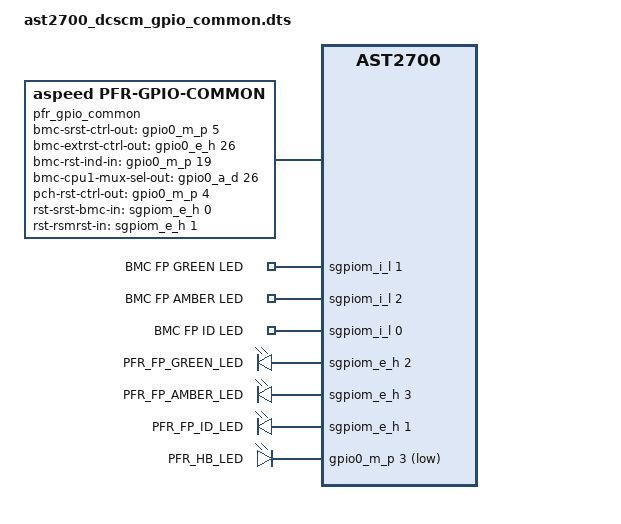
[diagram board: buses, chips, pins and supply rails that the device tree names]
#include <dt-bindings/gpio/gpio.h>

/ {
	pfr_gpio_common {
		compatible = "aspeed,pfr-gpio-common";
		bmc-srst-ctrl-out-gpios = <&gpio0_m_p 5 0>; /* GPIO_M5 */
		bmc-extrst-ctrl-out-gpios = <&gpio0_e_h 26 0>; /* GPIO_H2 */
		bmc-rst-ind-in-gpios = <&gpio0_m_p 19 0>; /* GPIO_O3 */
		bmc-cpu1-mux-sel-out-gpios = <&gpio0_a_d 26 0>; /* GPIO_D2 */
		pch-rst-ctrl-out-gpios = <&gpio0_m_p 4 0>; /* GPIO_M4 */

		/* NOTICE:
		 * Normally, these two pin should be GPIO_ACTIVE_LOW, but currently this EVB
		 * doesn't produce correct power sequence by itself.
		 */
		rst-srst-bmc-in-gpios = <&sgpiom_e_h 0 GPIO_ACTIVE_HIGH>; /* SGPI32 */
		rst-rsmrst-in-gpios = <&sgpiom_e_h 1 GPIO_ACTIVE_HIGH>; /* SGPI33 */
	};

	aliases {
		fp-input0 = &bmc_fp_green_led_in;
		fp-input1 = &bmc_fp_amber_led_in;
		fp-input2 = &bmc_fp_id_led_in;
	};

	gpio_keys {
		compatible = "gpio-keys";
		bmc_fp_green_led_in: fp_green_led_in {
			gpios = <&sgpiom_i_l 1 0>; /* SGPI65 */
			label = "BMC FP GREEN LED";
		};

		bmc_fp_amber_led_in: fp_amber_led_in {
			gpios = <&sgpiom_i_l 2 0>; /* SGPI66 */
			label = "BMC FP AMBER LED";
		};

		bmc_fp_id_led_in: fp_id_led_in {
			gpios = <&sgpiom_i_l 0 0>; /* SGPI64 */
			label = "BMC FP ID LED";
		};
	};

	leds {
		compatible = "gpio-leds";

		pfr_fp_green_led_out: green_led {
			gpios = <&sgpiom_e_h 2 0>; /* SGPO34 */
			label = "PFR_FP_GREEN_LED";
		};

		pfr_fp_amber_led_out: amber_led {
			gpios = <&sgpiom_e_h 3 0>; /* SGPO35 */
			label = "PFR_FP_AMBER_LED";
		};

		pfr_fp_id_led_out: id_led {
			gpios = <&sgpiom_e_h 1 0>; /* SGPO33 */
			label = "PFR_FP_ID_LED";
		};

		pfr_hb_led_out: hb_led {
			gpios = <&gpio0_m_p 3 1>; /* GPIO_M3 */
			label = "PFR_HB_LED";
		};
	};
};

